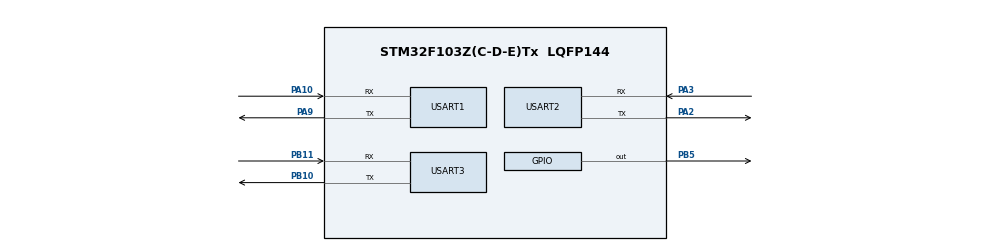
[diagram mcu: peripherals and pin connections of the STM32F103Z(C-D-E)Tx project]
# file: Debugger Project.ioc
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Mcu.Family=STM32F1
Mcu.Name=STM32F103Z(C-D-E)Tx
Mcu.Package=LQFP144
NVIC.PriorityGroup=NVIC_PRIORITYGROUP_4
PA10.Mode=Asynchronous
PA10.Signal=USART1_RX
PA2.Mode=Asynchronous
PA2.Signal=USART2_TX
PA3.Mode=Asynchronous
PA3.Signal=USART2_RX
PA9.Mode=Asynchronous
PA9.Signal=USART1_TX
PB10.Mode=Asynchronous
PB10.Signal=USART3_TX
PB11.Mode=Asynchronous
PB11.Signal=USART3_RX
PB5.Signal=GPIO_Output
PC14-OSC32_IN.Mode=LSE-External-Oscillator
PC14-OSC32_IN.Signal=RCC_OSC32_IN
PC15-OSC32_OUT.Mode=LSE-External-Oscillator
PC15-OSC32_OUT.Signal=RCC_OSC32_OUT
ProjectManager.HeapSize=0x200
ProjectManager.StackSize=0x400
ProjectManager.TargetToolchain=MDK-ARM V5.32
RCC.APB1Freq_Value=8000000
RCC.APB2Freq_Value=8000000
USART1.VirtualMode=VM_ASYNC
USART2.VirtualMode=VM_ASYNC
USART3.VirtualMode=VM_ASYNC
VP_SYS_VS_ND.Mode=No_Debug
board=custom

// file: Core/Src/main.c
/* USER CODE BEGIN Header */
/**
  ******************************************************************************
  * @file           : main.c
  * @brief          : Main program body
  ******************************************************************************
  * @attention
  *
  * Copyright (c) 2026 STMicroelectronics.
  * All rights reserved.
  *
  * This software is licensed under terms that can be found in the LICENSE file
  * in the root directory of this software component.
  * If no LICENSE file comes with this software, it is provided AS-IS.
  *
  ******************************************************************************
  */
/* USER CODE END Header */
#include "main.h"
#include "usart.h"
#include "gpio.h"

/* USER CODE BEGIN Includes */
#include "USART1.h"
#include "USART2.h"
#include "USART3.h"
/* USER CODE END Includes */

void SystemClock_Config(void);

/* USER CODE BEGIN 0 */
uint8_t usart1_rx_buf[256];
uint16_t usart1_rx_len = 0;

uint8_t usart2_rx_buf[256];
uint16_t usart2_rx_len = 0;

uint8_t usart3_rx_buf[256];
uint16_t usart3_rx_len = 0;
/* USER CODE END 0 */

int main(void)
{

  /* MCU Configuration--------------------------------------------------------*/

  /* Reset of all peripherals, Initializes the Flash interface and the Systick. */
  HAL_Init();

  /* Configure the system clock */
  SystemClock_Config();

  /* Initialize all configured peripherals */
  MX_GPIO_Init();
  MX_USART2_UART_Init();
  MX_USART1_UART_Init();
  MX_USART3_UART_Init();
  /* USER CODE BEGIN 2 */
  /* USART1/USART2/USART3 peripheral & GPIO are already configured by CubeMX
     (MX_USARTx_UART_Init). These only enable the RX interrupt. */
  Usart1_Init();
  Usart2_Init();
  Usart3_Init();
  /* USER CODE END 2 */

  /* Infinite loop */
  while (1)
  {

    /* USER CODE BEGIN 3 */
		//Usart2_printf("Hello UART2\r\n");
		if (Usart2_RecProcess(usart2_rx_buf, sizeof(usart2_rx_buf), &usart2_rx_len))
		{
			Usart2_SendData(usart2_rx_buf, usart2_rx_len);
		}
		if (Usart1_RecProcess(usart1_rx_buf, sizeof(usart1_rx_buf), &usart1_rx_len))
		{
			Usart1_SendData(usart1_rx_buf, usart1_rx_len);
		}
		if (Usart3_RecProcess(usart3_rx_buf, sizeof(usart3_rx_buf), &usart3_rx_len))
		{
			Usart3_SendData(usart3_rx_buf, usart3_rx_len);
		}
    HAL_GPIO_TogglePin(GPIOB,GPIO_PIN_5);
    HAL_Delay(500);
  }
  /* USER CODE END 3 */
}

void SystemClock_Config(void)
{
  RCC_OscInitTypeDef RCC_OscInitStruct = {0};
  RCC_ClkInitTypeDef RCC_ClkInitStruct = {0};

  /** Initializes the RCC Oscillators according to the specified parameters
  * in the RCC_OscInitTypeDef structure.
  */
  RCC_OscInitStruct.OscillatorType = RCC_OSCILLATORTYPE_HSI;
  RCC_OscInitStruct.HSIState = RCC_HSI_ON;
  RCC_OscInitStruct.HSICalibrationValue = RCC_HSICALIBRATION_DEFAULT;
  RCC_OscInitStruct.PLL.PLLState = RCC_PLL_NONE;
  if (HAL_RCC_OscConfig(&RCC_OscInitStruct) != HAL_OK)
  {
    Error_Handler();
  }

  /** Initializes the CPU, AHB and APB buses clocks
  */
  RCC_ClkInitStruct.ClockType = RCC_CLOCKTYPE_HCLK|RCC_CLOCKTYPE_SYSCLK
                              |RCC_CLOCKTYPE_PCLK1|RCC_CLOCKTYPE_PCLK2;
  RCC_ClkInitStruct.SYSCLKSource = RCC_SYSCLKSOURCE_HSI;
  RCC_ClkInitStruct.AHBCLKDivider = RCC_SYSCLK_DIV1;
  RCC_ClkInitStruct.APB1CLKDivider = RCC_HCLK_DIV1;
  RCC_ClkInitStruct.APB2CLKDivider = RCC_HCLK_DIV1;

  if (HAL_RCC_ClockConfig(&RCC_ClkInitStruct, FLASH_LATENCY_0) != HAL_OK)
  {
    Error_Handler();
  }
}

void Error_Handler(void)
{
  __disable_irq();
  while (1)
  {
  }
}
